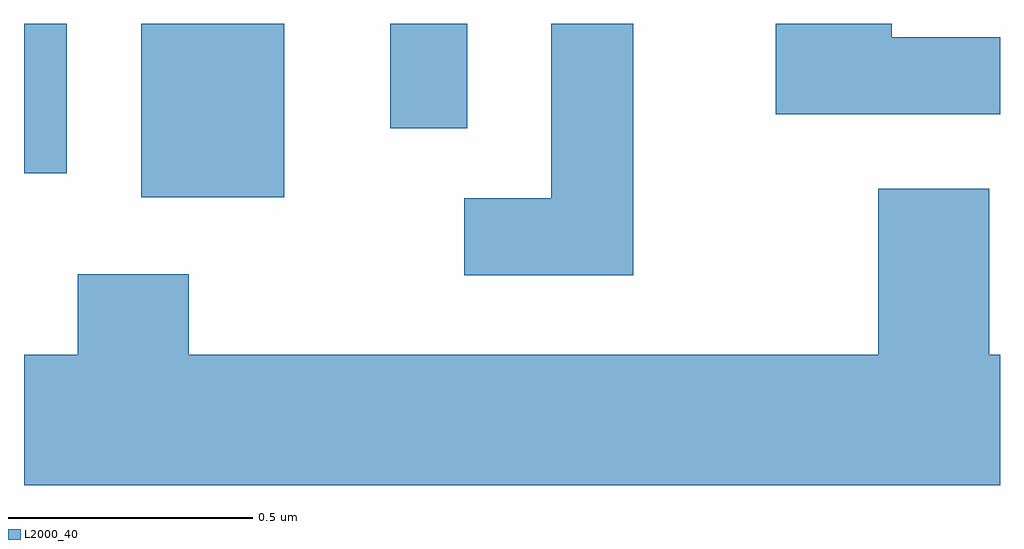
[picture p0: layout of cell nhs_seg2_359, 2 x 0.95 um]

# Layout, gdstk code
import gdstk
lib = gdstk.Library(unit=1e-6, precision=1e-09)
def R(c, l, rs):  # rectangles x0, y0, x1, y1
    for r in rs: c.add(gdstk.rectangle(r[:2], r[2:], *l))
def P(c, l, *ps):  # polygons
    for p in ps: c.add(gdstk.Polygon(p, *l))
L2000_40 = (2000, 40)

nhs_seg2_359 = lib.new_cell('nhs_seg2_359')
R(nhs_seg2_359, L2000_40, [(187.851,1064.446,188.144,1064.802), (187.611,1064.496,187.699,1064.802), (188.361,1064.588,188.519,1064.802)])
P(nhs_seg2_359, L2000_40, [(188.859,1064.802),(188.691,1064.802),(188.691,1064.444),(188.513,1064.444),(188.513,1064.286),(188.859,1064.286)],
  [(189.611,1064.774),(189.389,1064.774),(189.389,1064.802),(189.151,1064.802),(189.151,1064.616),(189.611,1064.616)],
  [(189.611,1064.124),(189.589,1064.124),(189.589,1064.464),(189.361,1064.464),(189.361,1064.124),(187.949,1064.124),(187.949,1064.289),(187.721,1064.289),(187.721,1064.124),(187.611,1064.124),(187.611,1063.856),(189.611,1063.856)])

lib.write_gds('nhs_seg2_359.gds')
